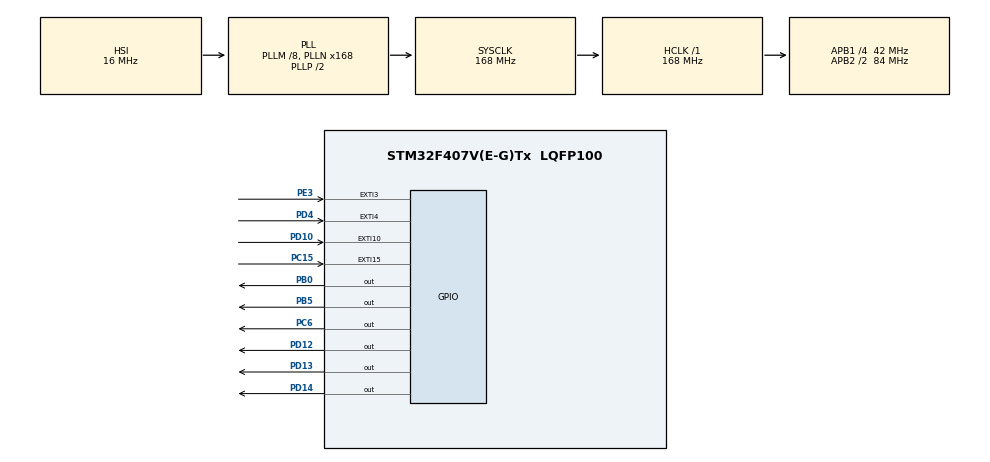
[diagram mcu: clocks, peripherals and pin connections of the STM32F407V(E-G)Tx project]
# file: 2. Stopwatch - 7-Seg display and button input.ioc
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Mcu.Family=STM32F4
Mcu.Name=STM32F407V(E-G)Tx
Mcu.Package=LQFP100
NVIC.EXTI15_10_IRQn=true\:0\:0\:false\:false\:true\:true\:true\:true
NVIC.EXTI3_IRQn=true\:0\:0\:false\:false\:true\:true\:true\:true
NVIC.EXTI4_IRQn=true\:0\:0\:false\:false\:true\:true\:true\:true
NVIC.PriorityGroup=NVIC_PRIORITYGROUP_4
NVIC.TIM6_DAC_IRQn=true\:0\:0\:false\:true\:true\:1\:true\:true\:true
PB0.Signal=GPIO_Output
PB5.Signal=GPIO_Output
PC15-OSC32_OUT.GPIO_ModeDefaultEXTI=GPIO_MODE_IT_RISING_FALLING
PC15-OSC32_OUT.Signal=GPXTI15
PC6.Signal=GPIO_Output
PD10.GPIO_ModeDefaultEXTI=GPIO_MODE_IT_RISING_FALLING
PD10.Signal=GPXTI10
PD12.Signal=GPIO_Output
PD13.Signal=GPIO_Output
PD14.Signal=GPIO_Output
PD4.GPIO_ModeDefaultEXTI=GPIO_MODE_IT_RISING_FALLING
PD4.Signal=GPXTI4
PE3.GPIO_ModeDefaultEXTI=GPIO_MODE_IT_RISING_FALLING
PE3.Signal=GPXTI3
PH0-OSC_IN.Mode=HSE-External-Oscillator
PH0-OSC_IN.Signal=RCC_OSC_IN
PH1-OSC_OUT.Mode=HSE-External-Oscillator
PH1-OSC_OUT.Signal=RCC_OSC_OUT
ProjectManager.HeapSize=0x200
ProjectManager.StackSize=0x400
ProjectManager.TargetToolchain=STM32CubeIDE
RCC.48MHZClocksFreq_Value=84000000
RCC.AHBFreq_Value=168000000
RCC.APB1CLKDivider=RCC_HCLK_DIV4
RCC.APB1Freq_Value=42000000
RCC.APB1TimFreq_Value=84000000
RCC.APB2CLKDivider=RCC_HCLK_DIV2
RCC.APB2Freq_Value=84000000
RCC.APB2TimFreq_Value=168000000
RCC.CortexFreq_Value=168000000
RCC.HCLKFreq_Value=168000000
RCC.HSE_VALUE=8000000
RCC.HSI_VALUE=16000000
RCC.LSE_VALUE=32768
RCC.PLLM=8
RCC.PLLN=168
RCC.SYSCLKFreq_VALUE=168000000
RCC.SYSCLKSource=RCC_SYSCLKSOURCE_PLLCLK
RCC.VCOOutputFreq_Value=336000000
TIM6.Period=839
TIM6.Prescaler=99
VP_TIM6_VS_ClockSourceINT.Mode=Enable_Timer
board=custom

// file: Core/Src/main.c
/* USER CODE BEGIN Header */
/**
  ******************************************************************************
  * @file           : main.c
  * @brief          : Main program body
  ******************************************************************************
  * @attention
  *
  * Copyright (c) 2024 STMicroelectronics.
  * All rights reserved.
  *
  * This software is licensed under terms that can be found in the LICENSE file
  * in the root directory of this software component.
  * If no LICENSE file comes with this software, it is provided AS-IS.
  *
  ******************************************************************************
  */
/* USER CODE END Header */
#include "main.h"
#include "tim.h"
#include "gpio.h"

/* USER CODE BEGIN Includes */
#include "easyMacros.h"
#include "7SEG.h"
/* USER CODE END Includes */

/* USER CODE BEGIN PTD */
typedef struct _Seg7 { // 7-Seg 설정 변수들
	int point1;
	int point2;
} Seg7;

typedef enum _Stopwatch_state { // Stopwatch 설정 변수들
	RUNNING,
	PAUSED,
	STOPPED
} Stopwatch_state;

typedef struct _Stopwatch_time {
	unsigned int hour;
	unsigned int minute;
	unsigned int second;
	unsigned int milisecond;
} Stopwatch_time;

typedef struct _Stopwatch {
	Stopwatch_state state;
	Stopwatch_time time;
} Stopwatch;

typedef enum _Mode { // 디지털 알람 시계의 모드 정의. 현재는 Stopwatch만 있다.
	STOPWATCH
} Mode;
/* USER CODE END PTD */

/* USER CODE BEGIN PV */
Seg7 seg7 = {OFF, OFF};
Mode mode = STOPWATCH;
Stopwatch stopwatch = {STOPPED, {0, 0, 0, 0}};
/* USER CODE END PV */

void SystemClock_Config(void);
static void MX_NVIC_Init(void);
/* USER CODE BEGIN PFP */
void convert_stopwatch_time_format();
/* USER CODE END PFP */

int main(void)
{

  /* MCU Configuration--------------------------------------------------------*/

  /* Reset of all peripherals, Initializes the Flash interface and the Systick. */
  HAL_Init();

  /* Configure the system clock */
  SystemClock_Config();

  /* Initialize all configured peripherals */
  MX_GPIO_Init();
  MX_TIM6_Init();

  /* Initialize interrupts */
  MX_NVIC_Init();
  /* USER CODE BEGIN 2 */
  L_RED_LED_OFF();
  L_GREEN_LED_OFF();
  L_BLUE_LED_OFF();
  R_RED_LED_OFF();
  R_GREEN_LED_OFF();
  R_BLUE_LED_OFF();

  HAL_TIM_Base_Start_IT(&htim6);
  _7SEG_GPIO_Init();
  /* USER CODE END 2 */

  /* Infinite loop */
  while (1)
  {

    /* USER CODE BEGIN 3 */

	  switch(mode) // 디지털 알람시계의 모드를 Swtich-Case로 구분하였다.
	  {
	  /*
	   * Stopwatch 모드일 경우. 여기서는 7-Seg에 시간을 표시해주는 일만 한다.
	   * 밑의 코드에서 버튼의 외부 인터럽트를 통하여 Stopwatch 시작과 리셋을 조작한다.
	   */
	  case STOPWATCH :
		    // 0.5초마다 점을 토글시키는 코드
			if(stopwatch.time.milisecond < 500) seg7.point1 = ON;
			else seg7.point1 = OFF;

			// 첫째 자리는 1초 단위로, 둘째 자리는 0.1초 단위로 7-Seg에 표시한다.
			_7SEG_SetNumber(DGT1, stopwatch.time.second % 10, seg7.point1);
			_7SEG_SetNumber(DGT2, stopwatch.time.milisecond / 100, OFF);
	  }
  }
  /* USER CODE END 3 */
}

void SystemClock_Config(void)
{
  RCC_OscInitTypeDef RCC_OscInitStruct = {0};
  RCC_ClkInitTypeDef RCC_ClkInitStruct = {0};

  /** Configure the main internal regulator output voltage
  */
  __HAL_RCC_PWR_CLK_ENABLE();
  __HAL_PWR_VOLTAGESCALING_CONFIG(PWR_REGULATOR_VOLTAGE_SCALE1);

  /** Initializes the RCC Oscillators according to the specified parameters
  * in the RCC_OscInitTypeDef structure.
  */
  RCC_OscInitStruct.OscillatorType = RCC_OSCILLATORTYPE_HSI;
  RCC_OscInitStruct.HSIState = RCC_HSI_ON;
  RCC_OscInitStruct.HSICalibrationValue = RCC_HSICALIBRATION_DEFAULT;
  RCC_OscInitStruct.PLL.PLLState = RCC_PLL_ON;
  RCC_OscInitStruct.PLL.PLLSource = RCC_PLLSOURCE_HSI;
  RCC_OscInitStruct.PLL.PLLM = 8;
  RCC_OscInitStruct.PLL.PLLN = 168;
  RCC_OscInitStruct.PLL.PLLP = RCC_PLLP_DIV2;
  RCC_OscInitStruct.PLL.PLLQ = 4;
  if (HAL_RCC_OscConfig(&RCC_OscInitStruct) != HAL_OK)
  {
    Error_Handler();
  }

  /** Initializes the CPU, AHB and APB buses clocks
  */
  RCC_ClkInitStruct.ClockType = RCC_CLOCKTYPE_HCLK|RCC_CLOCKTYPE_SYSCLK
                              |RCC_CLOCKTYPE_PCLK1|RCC_CLOCKTYPE_PCLK2;
  RCC_ClkInitStruct.SYSCLKSource = RCC_SYSCLKSOURCE_PLLCLK;
  RCC_ClkInitStruct.AHBCLKDivider = RCC_SYSCLK_DIV1;
  RCC_ClkInitStruct.APB1CLKDivider = RCC_HCLK_DIV4;
  RCC_ClkInitStruct.APB2CLKDivider = RCC_HCLK_DIV2;

  if (HAL_RCC_ClockConfig(&RCC_ClkInitStruct, FLASH_LATENCY_5) != HAL_OK)
  {
    Error_Handler();
  }
}

/**
  * @brief NVIC Configuration.
  * @retval None
  */
static void MX_NVIC_Init(void)
{
  /* TIM6_DAC_IRQn interrupt configuration */
  HAL_NVIC_SetPriority(TIM6_DAC_IRQn, 0, 0);
  HAL_NVIC_EnableIRQ(TIM6_DAC_IRQn);
}

/* USER CODE BEGIN 4 */
void HAL_TIM_PeriodElapsedCallback(TIM_HandleTypeDef *htim) // 1ms 주기의 Timer 6
{
	if(htim->Instance == TIM6)
	{
		if(stopwatch.state == RUNNING)
		{
			stopwatch.time.milisecond++;
			convert_stopwatch_time_format();
		}

		if(stopwatch.state == STOPPED)
		{
			stopwatch.time.hour = 0;
			stopwatch.time.minute = 0;
			stopwatch.time.second = 0;
			stopwatch.time.milisecond = 0;
		}
	}
}

void convert_stopwatch_time_format()
{
	if(stopwatch.time.milisecond == 1000)
	{
		stopwatch.time.milisecond = 0;
		stopwatch.time.second++;
	}
	if(stopwatch.time.second == 60)
	{
		stopwatch.time.second = 0;
		stopwatch.time.minute++;
	}
	if(stopwatch.time.minute == 60)
	{
		stopwatch.time.minute = 0;
		stopwatch.time.hour++;
	}
}

void HAL_GPIO_EXTI_Callback(uint16_t GPIO_Pin) // 외부 인터럽트를 통하여 SW1~4를 조작하는 함수
{
	// SW1
	if(GPIO_Pin == SW1 && CHECK_SW1_PRESSING())
	{
		L_RED_LED_TOGGLE();
	}

	// SW2
	if(GPIO_Pin == SW2 && CHECK_SW2_PRESSING())
	{
		L_GREEN_LED_TOGGLE();

		switch(mode)
		{
		case STOPWATCH :
			if(stopwatch.state == RUNNING) stopwatch.state = PAUSED;
			else stopwatch.state = RUNNING; // PAUSED, STOPPED 에서는 RUNNING 상태로 변경
			break;
		}
	}

	// SW3
	if(GPIO_Pin == SW3 && CHECK_SW3_PRESSING())
	{
		L_BLUE_LED_TOGGLE();

		switch(mode)
		{
		case STOPWATCH :
			if(stopwatch.state == PAUSED) stopwatch.state = STOPPED;
			break;
		}
	}

	// SW4
	if(GPIO_Pin == SW4 && CHECK_SW4_PRESSING())
	{
		R_RED_LED_TOGGLE();
	}
}
/* USER CODE END 4 */

void Error_Handler(void)
{
  __disable_irq();
  while (1)
  {
  }
}
